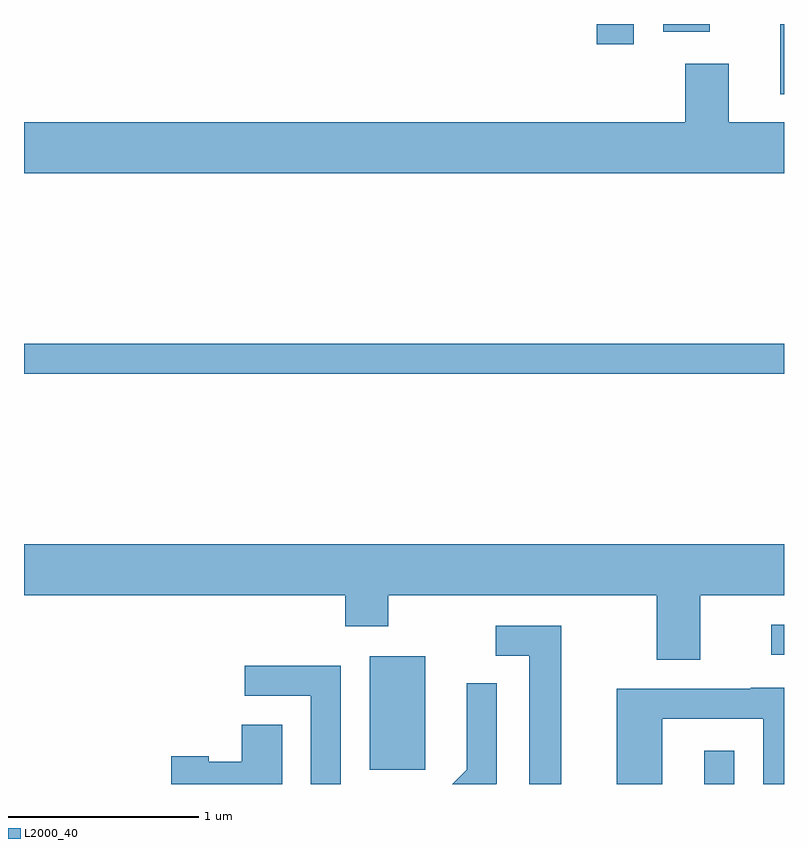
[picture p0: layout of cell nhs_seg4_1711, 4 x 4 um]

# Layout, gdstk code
import gdstk
lib = gdstk.Library(unit=1e-6, precision=1e-09)
def R(c, l, rs):  # rectangles x0, y0, x1, y1
    for r in rs: c.add(gdstk.rectangle(r[:2], r[2:], *l))
def P(c, l, *ps):  # polygons
    for p in ps: c.add(gdstk.Polygon(p, *l))
L2000_40 = (2000, 40)

nhs_seg4_1711 = lib.new_cell('nhs_seg4_1711')
R(nhs_seg4_1711, L2000_40, [(239.191,1275.982,239.349,1276.158), (237.431,1276.056,237.724,1276.654), (239.543,1276.661,239.611,1276.819), (235.611,1278.141,239.611,1278.299), (239.591,1279.613,239.611,1279.982), (238.626,1279.876,238.819,1279.982), (238.976,1279.941,239.219,1279.982)])
P(nhs_seg4_1711, L2000_40, [(239.611,1279.464),(239.319,1279.464),(239.319,1279.774),(239.091,1279.774),(239.091,1279.464),(235.611,1279.464),(235.611,1279.196),(239.611,1279.196)],
  [(239.169,1276.976),(239.611,1276.976),(239.611,1277.244),(235.611,1277.244),(235.611,1276.976),(237.301,1276.976),(237.301,1276.811),(237.529,1276.811),(237.529,1276.976),(238.941,1276.976),(238.941,1276.636),(239.169,1276.636)],
  [(238.439,1276.814),(238.093,1276.814),(238.093,1276.656),(238.271,1276.656),(238.271,1275.982),(238.439,1275.982)],
  [(237.279,1276.604),(236.773,1276.604),(236.773,1276.446),(237.121,1276.446),(237.121,1275.982),(237.279,1275.982)],
  [(238.099,1275.984),(238.099,1276.513),(237.941,1276.513),(237.941,1276.057),(237.866,1275.982),(238.097,1275.982)],
  [(238.969,1276.326),(239.501,1276.326),(239.501,1275.982),(239.611,1275.982),(239.611,1276.489),(239.435,1276.489),(239.435,1276.484),(238.731,1276.484),(238.731,1275.982),(238.969,1275.982)],
  [(236.969,1276.294),(236.756,1276.294),(236.756,1276.099),(236.584,1276.099),(236.584,1276.129),(236.386,1276.129),(236.386,1275.982),(236.969,1275.982)])

lib.write_gds('nhs_seg4_1711.gds')
